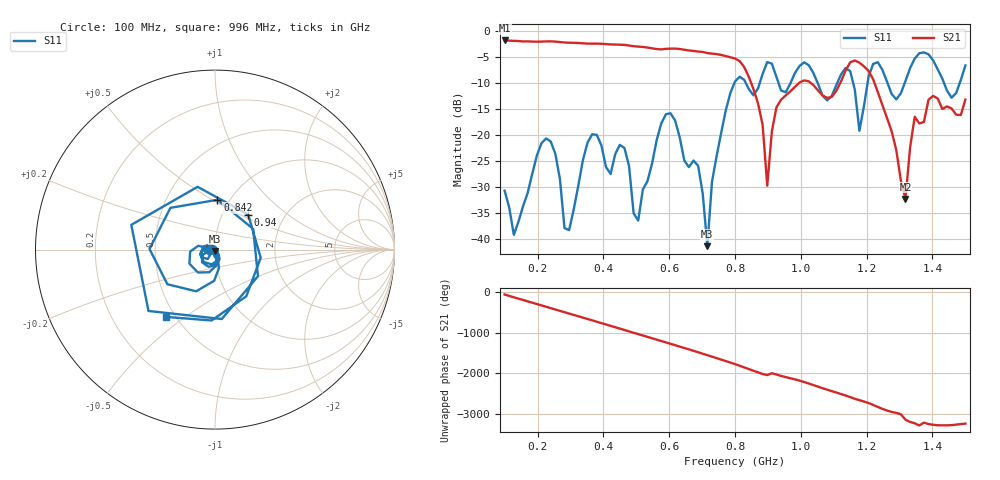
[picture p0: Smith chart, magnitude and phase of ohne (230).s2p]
! NanoVNA-App
! Date: 2025-09-25 14:22:35
! Start: 100MHz Stop: 1,5GHz Points: 101
! S-Parameter data: F S11 S21 S12 S22
# Hz S RI R 50
!  Frequency  S11_Real  S11_Imag  S21_Real  S21_Imag  S12_Real  S12_Imag  S22_Real  S22_Imag
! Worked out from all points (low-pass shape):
!   101 points, 100 MHz to 1.5 GHz, reference 50 ohm
!   highest |S21| = -1.79 dB at 100 MHz (marker M1); lowest = -32.2 dB at 1.318 GHz (marker M2)
!   |S21| within 3 dB of the highest: start of sweep to 771.9 MHz
!   lowest |S11| = -41.3 dB at 716 MHz (marker M3), VSWR 1.02, Z = 49.8 - j0.823 ohm
!   |S11| at or under -10 dB: start of sweep to 798 MHz; 833.1 MHz to 875 MHz (41.95 MHz wide, 4.91 % of centre); 1.052 GHz to 1.11 GHz (58.93 MHz wide, 5.45 % of centre) (the widest 3 of 7)
!   S12 and S22 are empty: the file has one direction only
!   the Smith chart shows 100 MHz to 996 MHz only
!   S11 on the Smith chart (normalised r, x): 100 MHz: 0.94, -0.01; 842 MHz: 0.88, +0.53; 940 MHz: 1.32, +0.56; 996 MHz: 0.45, -0.43
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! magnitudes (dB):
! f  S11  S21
! 100 MHz  -30.6  -1.8
! 128 MHz  -39.1  -1.9
! 226 MHz  -20.6  -2.0
! 296 MHz  -38.2  -2.2
! 338 MHz  -24.7  -2.3
! 464 MHz  -22.4  -2.7
! 506 MHz  -36.4  -3.0
! 576 MHz  -17.7  -3.5
! 688 MHz  -25.9  -3.9
! 716 MHz  -41.3  -4.2
! 800 MHz  -9.7  -5.3
! 842 MHz  -11.1  -8.8
! 898 MHz  -5.9  -29.7
! 940 MHz  -11.4  -13.2
! 996 MHz  -6.7  -9.9
! 1.038 GHz  -8.0  -10.4
! 1.178 GHz  -19.1  -6.1
! 1.22 GHz  -6.3  -9.3
! 1.276 GHz  -12.1  -19.3
! 1.318 GHz  -9.6  -32.2
! 1.346 GHz  -5.3  -16.4
! 1.5 GHz  -6.6  -13.2
